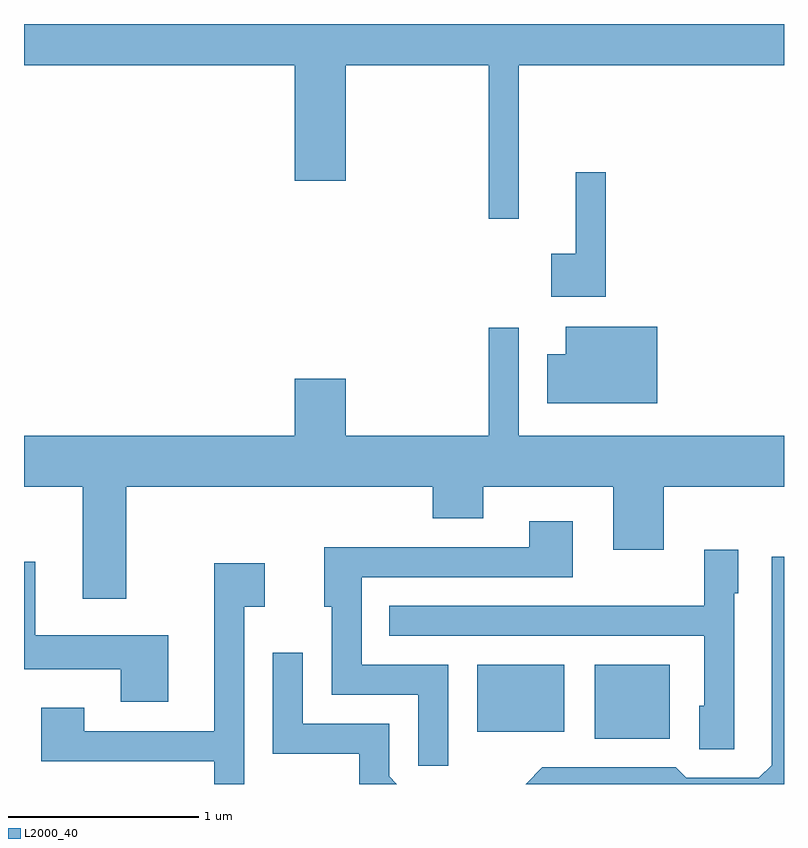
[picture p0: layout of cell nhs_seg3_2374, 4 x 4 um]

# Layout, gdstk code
import gdstk
lib = gdstk.Library(unit=1e-6, precision=1e-09)
def R(c, l, rs):  # rectangles x0, y0, x1, y1
    for r in rs: c.add(gdstk.rectangle(r[:2], r[2:], *l))
def P(c, l, *ps):  # polygons
    for p in ps: c.add(gdstk.Polygon(p, *l))
L2000_40 = (2000, 40)

nhs_seg3_2374 = lib.new_cell('nhs_seg3_2374')
R(nhs_seg3_2374, L2000_40, [(256.616,1240.131,257.009,1240.519), (255.996,1240.166,256.454,1240.519)])
P(nhs_seg3_2374, L2000_40, [(256.214,1243.676),(257.611,1243.676),(257.611,1243.892),(253.611,1243.892),(253.611,1243.676),(255.036,1243.676),(255.036,1243.066),(255.304,1243.066),(255.304,1243.676),(256.056,1243.676),(256.056,1242.868),(256.214,1242.868)],
  [(256.674,1243.113),(256.516,1243.113),(256.516,1242.684),(256.386,1242.684),(256.386,1242.456),(256.674,1242.456)],
  [(256.944,1242.299),(256.461,1242.299),(256.461,1242.154),(256.366,1242.154),(256.366,1241.896),(256.944,1241.896)],
  [(254.149,1241.456),(255.761,1241.456),(255.761,1241.291),(256.029,1241.291),(256.029,1241.456),(256.711,1241.456),(256.711,1241.126),(256.979,1241.126),(256.979,1241.456),(257.611,1241.456),(257.611,1241.724),(256.214,1241.724),(256.214,1242.293),(256.056,1242.293),(256.056,1241.724),(255.304,1241.724),(255.304,1242.024),(255.036,1242.024),(255.036,1241.724),(253.611,1241.724),(253.611,1241.456),(253.921,1241.456),(253.921,1240.866),(254.149,1240.866)],
  [(255.844,1240.519),(255.389,1240.519),(255.389,1240.981),(256.499,1240.981),(256.499,1241.274),(256.271,1241.274),(256.271,1241.139),(255.191,1241.139),(255.191,1240.826),(255.231,1240.826),(255.231,1240.361),(255.686,1240.361),(255.686,1239.988),(255.844,1239.988)],
  [(257.349,1240.896),(257.369,1240.896),(257.369,1241.124),(257.191,1241.124),(257.191,1240.829),(255.533,1240.829),(255.533,1240.671),(257.191,1240.671),(257.191,1240.304),(257.166,1240.304),(257.166,1240.076),(257.349,1240.076)],
  [(257.611,1241.089),(257.546,1241.089),(257.546,1239.992),(257.479,1239.924),(257.097,1239.924),(257.041,1239.979),(256.339,1239.979),(256.252,1239.892),(257.611,1239.892)],
  [(254.369,1240.674),(253.669,1240.674),(253.669,1241.063),(253.611,1241.063),(253.611,1240.496),(254.121,1240.496),(254.121,1240.326),(254.369,1240.326)],
  [(254.769,1240.826),(254.879,1240.826),(254.879,1241.054),(254.611,1241.054),(254.611,1240.169),(253.929,1240.169),(253.929,1240.294),(253.701,1240.294),(253.701,1240.011),(254.611,1240.011),(254.611,1239.892),(254.769,1239.892)],
  [(255.534,1239.932),(255.534,1240.209),(255.079,1240.209),(255.079,1240.583),(254.921,1240.583),(254.921,1240.051),(255.376,1240.051),(255.376,1239.892),(255.574,1239.892)])

lib.write_gds('nhs_seg3_2374.gds')
